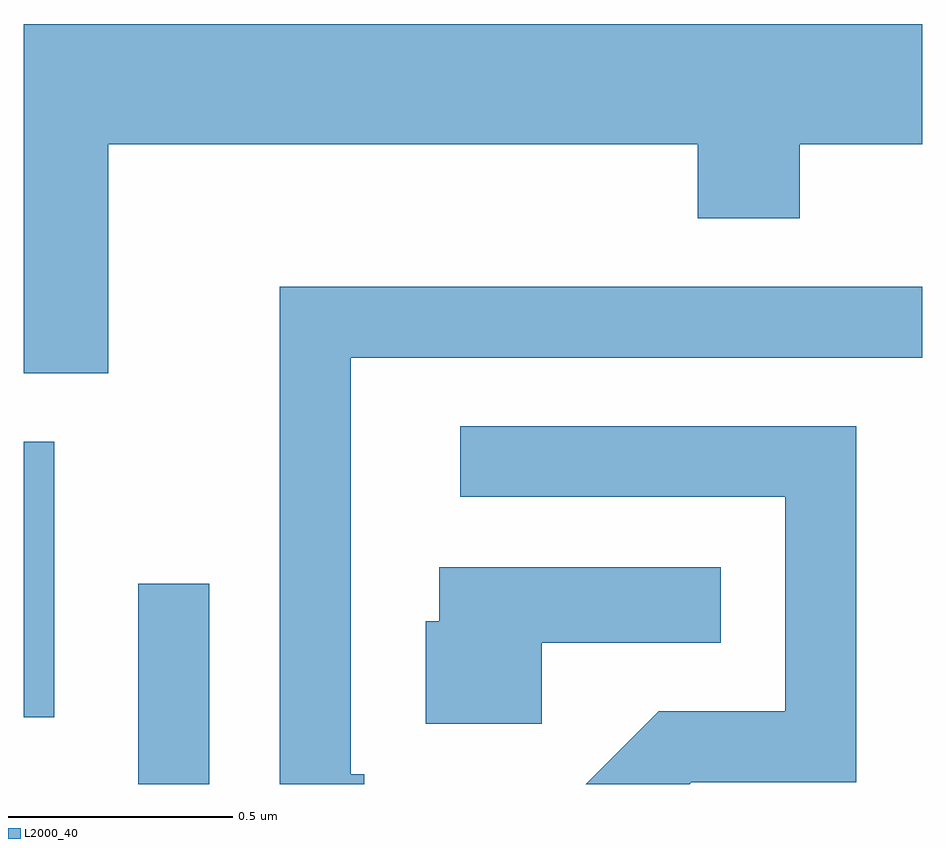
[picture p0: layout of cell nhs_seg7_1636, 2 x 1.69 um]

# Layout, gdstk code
import gdstk
lib = gdstk.Library(unit=1e-6, precision=1e-09)
def R(c, l, rs):  # rectangles x0, y0, x1, y1
    for r in rs: c.add(gdstk.rectangle(r[:2], r[2:], *l))
def P(c, l, *ps):  # polygons
    for p in ps: c.add(gdstk.Polygon(p, *l))
L2000_40 = (2000, 40)

nhs_seg7_1636 = lib.new_cell('nhs_seg7_1636')
R(nhs_seg7_1636, L2000_40, [(196.866,1797.252,197.024,1797.698), (196.611,1797.401,196.679,1798.014)])
P(nhs_seg7_1636, L2000_40, [(196.799,1798.676),(198.111,1798.676),(198.111,1798.511),(198.339,1798.511),(198.339,1798.676),(198.611,1798.676),(198.611,1798.944),(196.611,1798.944),(196.611,1798.166),(196.799,1798.166)],
  [(197.369,1797.274),(197.339,1797.274),(197.339,1798.201),(198.611,1798.201),(198.611,1798.359),(197.181,1798.359),(197.181,1797.252),(197.369,1797.252)],
  [(198.097,1797.256),(198.464,1797.256),(198.464,1798.049),(197.583,1798.049),(197.583,1797.891),(198.306,1797.891),(198.306,1797.414),(198.024,1797.414),(197.862,1797.252),(198.093,1797.252)],
  [(197.764,1797.566),(198.163,1797.566),(198.163,1797.734),(197.536,1797.734),(197.536,1797.614),(197.506,1797.614),(197.506,1797.386),(197.764,1797.386)])

lib.write_gds('nhs_seg7_1636.gds')
